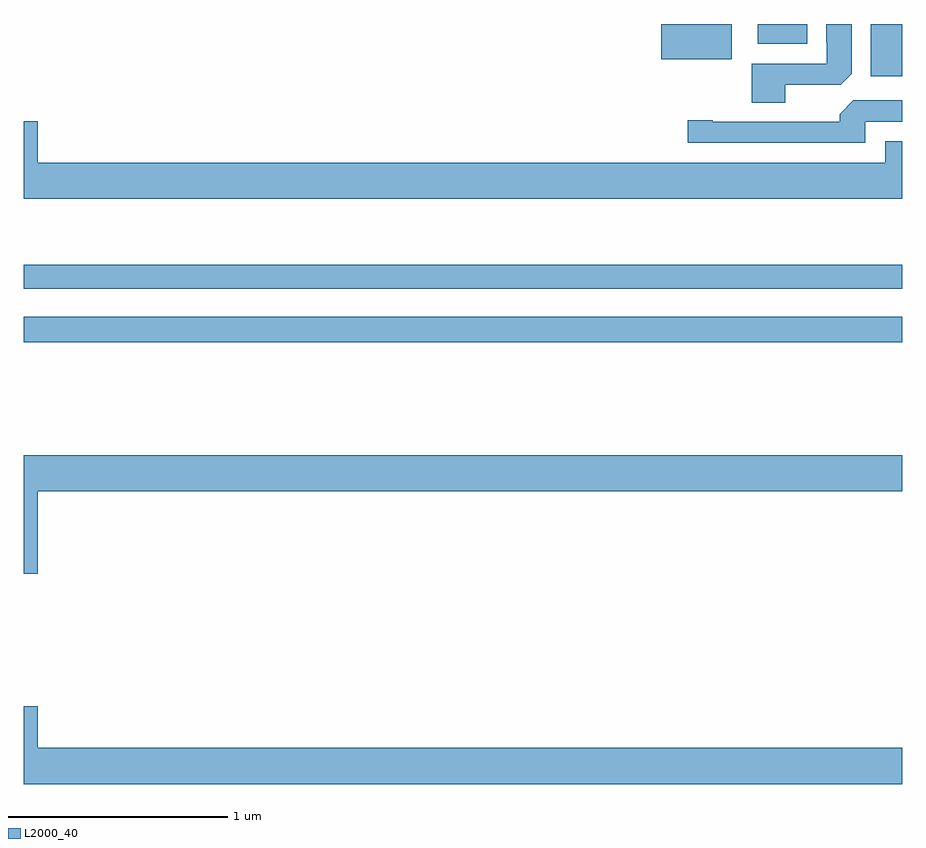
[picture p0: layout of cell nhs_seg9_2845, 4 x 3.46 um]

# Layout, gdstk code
import gdstk
lib = gdstk.Library(unit=1e-6, precision=1e-09)
def R(c, l, rs):  # rectangles x0, y0, x1, y1
    for r in rs: c.add(gdstk.rectangle(r[:2], r[2:], *l))
def P(c, l, *ps):  # polygons
    for p in ps: c.add(gdstk.Polygon(p, *l))
L2000_40 = (2000, 40)

nhs_seg9_2845 = lib.new_cell('nhs_seg9_2845')
R(nhs_seg9_2845, L2000_40, [(273,1245.052,277,1245.168), (273,1245.294,277,1245.403), (276.857,1246.262,277,1246.5), (275.903,1246.34,276.223,1246.5), (276.341,1246.409,276.568,1246.5)])
P(nhs_seg9_2845, L2000_40, [(276.466,1246.224),(276.72,1246.224),(276.769,1246.273),(276.769,1246.5),(276.653,1246.5),(276.653,1246.417),(276.657,1246.417),(276.657,1246.32),(276.314,1246.32),(276.314,1246.141),(276.466,1246.141)],
  [(276.831,1246.056),(277,1246.056),(277,1246.152),(276.777,1246.152),(276.716,1246.09),(276.716,1246.056),(276.136,1246.056),(276.136,1246.061),(276.024,1246.061),(276.024,1245.96),(276.831,1245.96)],
  [(277,1245.967),(276.923,1245.967),(276.923,1245.868),(273.064,1245.868),(273.064,1246.057),(273,1246.057),(273,1245.704),(277,1245.704)],
  [(273.064,1244.372),(277,1244.372),(277,1244.536),(273,1244.536),(273,1243.998),(273.064,1243.998)],
  [(277,1243.204),(273.064,1243.204),(273.064,1243.393),(273,1243.393),(273,1243.04),(277,1243.04)])

lib.write_gds('nhs_seg9_2845.gds')
